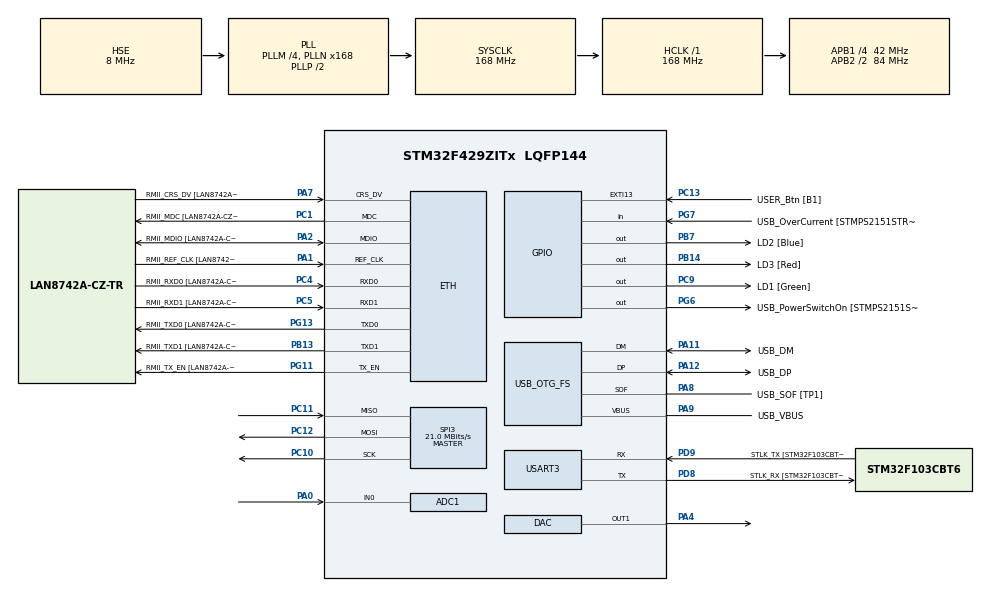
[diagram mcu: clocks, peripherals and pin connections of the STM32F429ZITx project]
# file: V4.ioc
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ADC1.Channel-0\#ChannelRegularConversion=ADC_CHANNEL_0
ADC1.NbrOfConversionFlag=1
ADC1.Rank-0\#ChannelRegularConversion=1
ADC1.SamplingTime-0\#ChannelRegularConversion=ADC_SAMPLETIME_3CYCLES
ADC1.master=1
ETH.MediaInterface=ETH_MEDIA_INTERFACE_RMII
ETH.PHY_Name=LAN8742A_PHY_ADDRESS
ETH.PHY_Value=0
ETH.PhyAddress=0
FREERTOS.Tasks01=defaultTask,24,128,StartDefaultTask,Default,NULL,Dynamic,NULL,NULL
LWIP.IP_ADDRESS=010.010.010.010
LWIP.LWIP_DHCP=0
LWIP.NETMASK_ADDRESS=255.255.000.000
LWIP.Version=v2.0.3_Cube
Mcu.Family=STM32F4
Mcu.Name=STM32F429ZITx
Mcu.Package=LQFP144
NVIC.ETH_IRQn=true\:5\:0\:false\:false\:true\:true\:false\:true
NVIC.OTG_FS_IRQn=true\:5\:0\:false\:false\:true\:true\:false\:true
NVIC.PriorityGroup=NVIC_PRIORITYGROUP_4
NVIC.TIM8_TRG_COM_TIM14_IRQn=true\:0\:0\:false\:false\:true\:false\:false\:true
NVIC.TimeBase=TIM8_TRG_COM_TIM14_IRQn
NVIC.TimeBaseIP=TIM14
PA0/WKUP.Signal=ADCx_IN0
PA1.GPIO_Label=RMII_REF_CLK [LAN8742A-CZ-TR_REFCLK0]
PA1.Mode=RMII
PA1.Signal=ETH_REF_CLK
PA10.GPIO_Label=USB_ID
PA10.Signal=USB_OTG_FS_ID
PA11.GPIO_Label=USB_DM
PA11.Mode=Device_Only
PA11.Signal=USB_OTG_FS_DM
PA12.GPIO_Label=USB_DP
PA12.Mode=Device_Only
PA12.Signal=USB_OTG_FS_DP
PA13.GPIO_Label=TMS
PA13.Mode=Serial_Wire
PA13.Signal=SYS_JTMS-SWDIO
PA14.GPIO_Label=TCK
PA14.Mode=Serial_Wire
PA14.Signal=SYS_JTCK-SWCLK
PA2.GPIO_Label=RMII_MDIO [LAN8742A-CZ-TR_MDIO]
PA2.Mode=RMII
PA2.Signal=ETH_MDIO
PA4.Signal=COMP_DAC1_group
PA7.GPIO_Label=RMII_CRS_DV [LAN8742A-CZ-TR_CRS_DV]
PA7.Mode=RMII
PA7.Signal=ETH_CRS_DV
PA8.GPIO_Label=USB_SOF [TP1]
PA8.Mode=Activate_SOF_FS
PA8.Signal=USB_OTG_FS_SOF
PA9.GPIO_Label=USB_VBUS
PA9.Mode=Activate_VBUS
PA9.Signal=USB_OTG_FS_VBUS
PB13.GPIO_Label=RMII_TXD1 [LAN8742A-CZ-TR_TXD1]
PB13.Mode=RMII
PB13.Signal=ETH_TXD1
PB14.GPIO_Label=LD3 [Red]
PB14.Signal=GPIO_Output
PB7.GPIO_Label=LD2 [Blue]
PB7.Signal=GPIO_Output
PC1.GPIO_Label=RMII_MDC [LAN8742A-CZ-TR_MDC]
PC1.Mode=RMII
PC1.Signal=ETH_MDC
PC10.Mode=Full_Duplex_Master
PC10.Signal=SPI3_SCK
PC11.Mode=Full_Duplex_Master
PC11.Signal=SPI3_MISO
PC12.Mode=Full_Duplex_Master
PC12.Signal=SPI3_MOSI
PC13.GPIO_Label=USER_Btn [B1]
PC13.Signal=GPXTI13
PC14/OSC32_IN.Mode=LSE-External-Oscillator
PC14/OSC32_IN.Signal=RCC_OSC32_IN
PC15/OSC32_OUT.Mode=LSE-External-Oscillator
PC15/OSC32_OUT.Signal=RCC_OSC32_OUT
PC4.GPIO_Label=RMII_RXD0 [LAN8742A-CZ-TR_RXD0]
PC4.Mode=RMII
PC4.Signal=ETH_RXD0
PC5.GPIO_Label=RMII_RXD1 [LAN8742A-CZ-TR_RXD1]
PC5.Mode=RMII
PC5.Signal=ETH_RXD1
PC9.GPIO_Label=LD1 [Green]
PC9.Signal=GPIO_Output
PD8.GPIO_Label=STLK_RX [STM32F103CBT6_PA3]
PD8.Mode=Asynchronous
PD8.Signal=USART3_TX
PD9.GPIO_Label=STLK_TX [STM32F103CBT6_PA2]
PD9.Mode=Asynchronous
PD9.Signal=USART3_RX
PG11.GPIO_Label=RMII_TX_EN [LAN8742A-CZ-TR_TXEN]
PG11.Mode=RMII
PG11.Signal=ETH_TX_EN
PG13.GPIO_Label=RMII_TXD0 [LAN8742A-CZ-TR_TXD0]
PG13.Mode=RMII
PG13.Signal=ETH_TXD0
PG6.GPIO_Label=USB_PowerSwitchOn [STMPS2151STR_EN]
PG6.Signal=GPIO_Output
PG7.GPIO_Label=USB_OverCurrent [STMPS2151STR_FAULT]
PG7.Signal=GPIO_Input
PH0/OSC_IN.GPIO_Label=MCO [STM32F103CBT6_PA8]
PH0/OSC_IN.Mode=HSE-External-Clock-Source
PH0/OSC_IN.Signal=RCC_OSC_IN
PH1/OSC_OUT.Mode=HSE-External-Clock-Source
PH1/OSC_OUT.Signal=RCC_OSC_OUT
ProjectManager.HeapSize=0x200
ProjectManager.StackSize=0x400
ProjectManager.TargetToolchain=STM32CubeIDE
RCC.48MHZClocksFreq_Value=48000000
RCC.AHBFreq_Value=168000000
RCC.APB1CLKDivider=RCC_HCLK_DIV4
RCC.APB1Freq_Value=42000000
RCC.APB1TimFreq_Value=84000000
RCC.APB2CLKDivider=RCC_HCLK_DIV2
RCC.APB2Freq_Value=84000000
RCC.APB2TimCLKDivider=2
RCC.APB2TimFreq_Value=168000000
RCC.CortexFreq_Value=168000000
RCC.HCLKFreq_Value=168000000
RCC.HSE_VALUE=8000000
RCC.HSI_VALUE=16000000
RCC.PLLM=4
RCC.PLLMUL=RCC_PLL_MUL9
RCC.PLLN=168
RCC.PLLQ=7
RCC.PRESCALERUSB=RCC_USBCLKSOURCE_PLL_DIV1_5
RCC.SYSCLKFreq_VALUE=168000000
RCC.SYSCLKSource=RCC_SYSCLKSOURCE_PLLCLK
RCC.SYSCLKSourceVirtual=RCC_SYSCLKSOURCE_PLLCLK
RCC.USBFreq_Value=48000000
RCC.VCOOutputFreq_Value=336000000
RTC.Format=RTC_FORMAT_BIN
SH.ADCx_IN0.0=ADC1_IN0,IN0
SH.COMP_DAC1_group.0=DAC_OUT1,DAC_OUT1
SPI3.CalculateBaudRate=21.0 MBits/s
SPI3.Direction=SPI_DIRECTION_2LINES
SPI3.Mode=SPI_MODE_MASTER
SPI3.VirtualType=VM_MASTER
USART3.VirtualMode=VM_ASYNC
USB_DEVICE.CLASS_NAME_FS=MSC
USB_DEVICE.VirtualMode-MSC_FS=Msc
USB_DEVICE.VirtualModeFS=Msc_FS
USB_OTG_FS.VirtualMode=Device_Only
VP_CRC_VS_CRC.Mode=CRC_Activate
VP_FATFS_VS_Generic.Mode=User_defined
VP_FREERTOS_VS_CMSIS_V2.Mode=CMSIS_V2
VP_LWIP_VS_Enabled.Mode=Enabled
VP_RTC_VS_RTC_Activate.Mode=RTC_Enabled
VP_RTC_VS_RTC_Calendar.Mode=RTC_Calendar
VP_SYS_VS_tim14.Mode=TIM14
VP_USB_DEVICE_VS_USB_DEVICE_MSC_FS.Mode=MSC_FS
board=NUCLEO-F429ZI

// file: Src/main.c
/* USER CODE BEGIN Header */
/**
  ******************************************************************************
  * @file           : main.c
  * @brief          : Main program body
  ******************************************************************************
  * @attention
  *
  * <h2><center>&copy; Copyright (c) 2019 STMicroelectronics.
  * All rights reserved.</center></h2>
  *
  * This software component is licensed by ST under BSD 3-Clause license,
  * the "License"; You may not use this file except in compliance with the
  * License. You may obtain a copy of the License at:
  *                        opensource.org/licenses/BSD-3-Clause
  *
  ******************************************************************************
  */
/* USER CODE END Header */

#include "main.h"
#include "cmsis_os.h"
#include "fatfs.h"
#include "lwip.h"
#include "usb_device.h"

/* USER CODE BEGIN Includes */
#include "track.h"
#include "variables.h"
#include "settings.h"
#include "acknowledge.h"
#include "httpd.h"
#include "LED.h"
#include "Shell.h"
#include "Input.h"

// Command Station
#include "CS.h"

extern void http_server_socket_init(void);
/* USER CODE END Includes */

/* USER CODE BEGIN PD */

#define VERSION		10008	// 10005 x.yy.zz = 1.00.05

/* USER CODE END PD */

ADC_HandleTypeDef hadc1;

DMA_HandleTypeDef hdma_adc1;

CRC_HandleTypeDef hcrc;

DAC_HandleTypeDef hdac;

RTC_HandleTypeDef hrtc;

SPI_HandleTypeDef hspi3;

UART_HandleTypeDef huart3;

osThreadId_t defaultTaskHandle;
/* USER CODE BEGIN PV */
//uint32_t HCLKFreq;
uint32_t PCLK1Freq;

FATFS fs;
/* USER CODE END PV */

void SystemClock_Config(void);
static void MX_GPIO_Init(void);
static void MX_USART3_UART_Init(void);
static void MX_ADC1_Init(void);
static void MX_ADC3_Init(void);
static void MX_CRC_Init(void);
static void MX_DAC_Init(void);
static void MX_RTC_Init(void);
static void MX_SPI3_Init(void);

//static void MX_TIM4_Init(void);

void StartDefaultTask(void *argument);

/* USER CODE BEGIN PFP */
//extern void ShellTask(void *argument);
//extern void LedTask(void *argument);
extern void http_server_init(void);
//extern void UsbTask(void *argument);

uint32_t MakeSerialNumber(void);

//extern void Telnet_init(void);
extern void telnet_server_init(void);

//extern void StatusLed(int s);

/* USER CODE END PFP */

/* USER CODE BEGIN 0 */

// LCC and Cab current - A8 - PF4 - ADC3_IN14
//// LCC and Cab current - Ax - PB0 - ADC1_IN18
// Voltage Feedback - A6 - PB1 - ADC12_IN9
// Current Feedback - A7 - PC2 - ADC123_IN12

// SD CLK PC10
// SD MISO PC11
// SD MOSI PC12
// SD SS PA15

// RS485 DE PD4
// RS485 TX PD5
// RS485 RX PD6

// -CAN RX PD0
// -CAN TX PD1

// -BIDI RX PC7
// -BIDI THRESH PA4
// -BIDI_EN PB11

// DCCOUTD PA0
// BR_EN PB6
// SCOPE PE7

// -REF_OSC PF4

// IN1 PE10
// IN2 PE12
// IN3 PE14
// IN4 PE15

/* USER CODE END 0 */

int main(void)
{

	/* MCU Configuration--------------------------------------------------------*/

	/* Reset of all peripherals, Initializes the Flash interface and the Systick. */

	HAL_Init();
//	HAL_ADC_MspInit();

	/* Configure the system clock */
	SystemClock_Config();

	/* USER CODE BEGIN SysInit */
	//HCLKFreq = HAL_RCC_GetHCLKFreq();
	PCLK1Freq = HAL_RCC_GetPCLK1Freq();
	/* USER CODE END SysInit */

	/* Initialize all configured peripherals */
	MX_GPIO_Init();
	MX_USART3_UART_Init();
	MX_ADC1_Init();
	//MX_ADC3_Init();
	MX_CRC_Init();
	MX_DAC_Init();
	MX_RTC_Init();
	MX_SPI3_Init();
	/* USER CODE BEGIN 2 */

	/* init code for FATFS */
	MX_FATFS_Init();

	/* Mount SD Card */
	if(f_mount(&fs, "", 1) != FR_OK)
	{
	    Error_Handler();
	}

	GetSettings();

	MainTrackConfig();
	InitAcknowledge();

	// initially open the track resource for the Shell
	//(void)OpenTrack(TR_SHELL, TI_IDLE, DEFAULT_PREAMBLES);
	(void)OpenTrack(TR_SHELL, TrackIdle, DEFAULT_PREAMBLES);

	lVersion = VERSION;
	lSerialNumber = MakeSerialNumber();
	strcpy(szBuildDateVar, __DATE__);

	/* USER CODE END 2 */

	osKernelInitialize();

	/* Create the thread(s) */
	/* definition and creation of defaultTask */
	const osThreadAttr_t defaultTask_attributes = {
		.name = "defaultTask",
		.priority = (osPriority_t) osPriorityNormal,
		.stack_size = 2000
	};
	defaultTaskHandle = osThreadNew(StartDefaultTask, NULL, &defaultTask_attributes);

  /* USER CODE BEGIN RTOS_THREADS */
	/* add threads, ... */

	const osThreadAttr_t shellTask_attributes = {
		.name = "shell",
		.priority = (osPriority_t) osPriorityAboveNormal4,
		//.stack_size = 1024
		//.stack_size = 2000
		.stack_size = 3000
	};
	osThreadNew(ShellTask, NULL, &shellTask_attributes);

	const osThreadAttr_t scriptTask_attributes = {
		.name = "script",
		.priority = (osPriority_t) osPriorityAboveNormal1,
		//.stack_size = 1024
		//.stack_size = 2500
		.stack_size = 3000
	};
	osThreadNew(ScriptTask, NULL, &scriptTask_attributes);

	const osThreadAttr_t ledTask_attributes = {
		.name = "led",
		.priority = (osPriority_t) osPriorityNormal1,
		.stack_size = 256
	};
	osThreadNew(LedTask, NULL, &ledTask_attributes);

	const osThreadAttr_t commandstationTask_attributes = {
		.name = "commandstation",
		.priority = (osPriority_t) osPriorityNormal1,
		.stack_size = 3000
	};
	osThreadNew(CommandStationTask, NULL, &commandstationTask_attributes);

	const osThreadAttr_t inputTask_attributes = {
		.name = "input",
		.priority = (osPriority_t) osPriorityNormal1,
		.stack_size = 256
	};
	osThreadNew(InputTask, NULL, &inputTask_attributes);

	HeartbeatLed(LED_NORMAL);

//k	http_server_init();
	telnet_server_init();

  /* USER CODE END RTOS_THREADS */

  /* Start scheduler */
  osKernelStart();

  /* We should never get here as control is now taken by the scheduler */

  /* Infinite loop */
	while (1)
	{

	}
}

void SystemClock_Config(void)
{
  RCC_OscInitTypeDef RCC_OscInitStruct = {0};
  RCC_ClkInitTypeDef RCC_ClkInitStruct = {0};
  RCC_PeriphCLKInitTypeDef PeriphClkInitStruct = {0};

  /** Configure the main internal regulator output voltage
  */
  __HAL_RCC_PWR_CLK_ENABLE();
  __HAL_PWR_VOLTAGESCALING_CONFIG(PWR_REGULATOR_VOLTAGE_SCALE1);
  /** Initializes the CPU, AHB and APB busses clocks
  */
  //RCC_OscInitStruct.OscillatorType = RCC_OSCILLATORTYPE_LSI|RCC_OSCILLATORTYPE_HSE;
  RCC_OscInitStruct.OscillatorType = RCC_OSCILLATORTYPE_LSE|RCC_OSCILLATORTYPE_HSE;
  RCC_OscInitStruct.HSEState = RCC_HSE_BYPASS;
  RCC_OscInitStruct.LSIState = RCC_LSI_ON;
  //RCC_OscInitStruct.LSEState = RCC_LSE_BYPASS;
  RCC_OscInitStruct.LSEState = RCC_LSE_ON;
  RCC_OscInitStruct.PLL.PLLState = RCC_PLL_ON;
  RCC_OscInitStruct.PLL.PLLSource = RCC_PLLSOURCE_HSE;
  RCC_OscInitStruct.PLL.PLLM = 4;
  RCC_OscInitStruct.PLL.PLLN = 168;
  RCC_OscInitStruct.PLL.PLLP = RCC_PLLP_DIV2;
  RCC_OscInitStruct.PLL.PLLQ = 7;
  if (HAL_RCC_OscConfig(&RCC_OscInitStruct) != HAL_OK)
  {
    Error_Handler();
  }
  /** Initializes the CPU, AHB and APB busses clocks
  */
  RCC_ClkInitStruct.ClockType = RCC_CLOCKTYPE_HCLK|RCC_CLOCKTYPE_SYSCLK
                              |RCC_CLOCKTYPE_PCLK1|RCC_CLOCKTYPE_PCLK2;
  RCC_ClkInitStruct.SYSCLKSource = RCC_SYSCLKSOURCE_PLLCLK;
  RCC_ClkInitStruct.AHBCLKDivider = RCC_SYSCLK_DIV1;
  RCC_ClkInitStruct.APB1CLKDivider = RCC_HCLK_DIV4;
  RCC_ClkInitStruct.APB2CLKDivider = RCC_HCLK_DIV2;

  if (HAL_RCC_ClockConfig(&RCC_ClkInitStruct, FLASH_LATENCY_5) != HAL_OK)
  {
    Error_Handler();
  }
  PeriphClkInitStruct.PeriphClockSelection = RCC_PERIPHCLK_RTC;
  //PeriphClkInitStruct.RTCClockSelection = RCC_RTCCLKSOURCE_LSI;
  PeriphClkInitStruct.RTCClockSelection = RCC_RTCCLKSOURCE_LSE;
  if (HAL_RCCEx_PeriphCLKConfig(&PeriphClkInitStruct) != HAL_OK)
  {
    Error_Handler();
  }
}

static void MX_ADC1_Init(void)
{

	/* USER CODE BEGIN ADC1_Init 0 */
	GPIO_InitTypeDef GPIO_InitStruct;
	/* USER CODE END ADC1_Init 0 */

	GPIO_InitStruct.Pin       = VOLTAGE_FB_PIN;
	GPIO_InitStruct.Mode      = VOLTAGE_FB_MODE;
	GPIO_InitStruct.Pull      = VOLTAGE_FB_PU_PD;
	GPIO_InitStruct.Speed     = VOLTAGE_FB_SPEED;
	HAL_GPIO_Init(VOLTAGE_FB_PORT, &GPIO_InitStruct);

	GPIO_InitStruct.Pin       = CURRENT_FB_PIN;
	GPIO_InitStruct.Mode      = CURRENT_FB_MODE;
	GPIO_InitStruct.Pull      = CURRENT_FB_PU_PD;
	GPIO_InitStruct.Speed     = CURRENT_FB_SPEED;
	HAL_GPIO_Init(CURRENT_FB_PORT, &GPIO_InitStruct);

#ifdef USE_NEW
	ADC_ChannelConfTypeDef sConfig = {0};

	/* USER CODE BEGIN ADC1_Init 1 */
	__HAL_RCC_ADC1_CLK_ENABLE();
//	__HAL_RCC_DMAx_CLK_ENABLE();

//	__HAL_ADC_ENABLE;

	/* USER CODE END ADC1_Init 1 */
	/** Configure the global features of the ADC (Clock, Resolution, Data Alignment and number of conversion)
	*/
	hadc1.Instance = ADC1;
	hadc1.Init.ClockPrescaler = ADC_CLOCK_SYNC_PCLK_DIV4;
	hadc1.Init.Resolution = ADC_RESOLUTION_12B;
	hadc1.Init.ScanConvMode = ENABLE;
	hadc1.Init.ContinuousConvMode = ENABLE;
	hadc1.Init.DiscontinuousConvMode = DISABLE;
	hadc1.Init.ExternalTrigConvEdge = ADC_EXTERNALTRIGCONVEDGE_NONE;
	hadc1.Init.ExternalTrigConv = ADC_SOFTWARE_START;
	hadc1.Init.DataAlign = ADC_DATAALIGN_RIGHT;
	hadc1.Init.NbrOfConversion = 2;
	hadc1.Init.DMAContinuousRequests = ENABLE;
	hadc1.Init.EOCSelection = DISABLE;
	if (HAL_ADC_Init(&hadc1) != HAL_OK)
	{
		Error_Handler();
	}
	/** Configure for the selected ADC regular channel its corresponding rank in the sequencer and its sample time.
	*/
	/* USER CODE BEGIN ADC1_Init 2 */
	sConfig.Channel = ADC_CHANNEL_9;
	sConfig.Rank = 1;
	sConfig.SamplingTime = ADC_SAMPLETIME_28CYCLES;
	if (HAL_ADC_ConfigChannel(&hadc1, &sConfig) != HAL_OK)
	{
		Error_Handler();
	}

	sConfig.Channel = ADC_CHANNEL_12;
	sConfig.Rank = 2;
	sConfig.SamplingTime = ADC_SAMPLETIME_28CYCLES;
	if (HAL_ADC_ConfigChannel(&hadc1, &sConfig) != HAL_OK)
	{
		Error_Handler();
	}

#endif

  ADC_ChannelConfTypeDef sConfig = {0};

  /* USER CODE BEGIN ADC1_Init 1 */

  /* USER CODE END ADC1_Init 1 */
  /** Configure the global features of the ADC (Clock, Resolution, Data Alignment and number of conversion)
  */
  hadc1.Instance = ADC1;
  hadc1.Init.ClockPrescaler = ADC_CLOCK_SYNC_PCLK_DIV8;
  hadc1.Init.Resolution = ADC_RESOLUTION_12B;
  hadc1.Init.ScanConvMode = ENABLE;
  hadc1.Init.ContinuousConvMode = ENABLE;
  hadc1.Init.DiscontinuousConvMode = DISABLE;
  hadc1.Init.ExternalTrigConvEdge = ADC_EXTERNALTRIGCONVEDGE_NONE;
  hadc1.Init.ExternalTrigConv = ADC_SOFTWARE_START;
  hadc1.Init.DataAlign = ADC_DATAALIGN_RIGHT;
  hadc1.Init.NbrOfConversion = 2;
  hadc1.Init.DMAContinuousRequests = DISABLE;
  hadc1.Init.EOCSelection = ADC_EOC_SEQ_CONV;
  if (HAL_ADC_Init(&hadc1) != HAL_OK)
  {
	Error_Handler();
  }
  /** Configure for the selected ADC regular channel its corresponding rank in the sequencer and its sample time.
  */
  sConfig.Channel = ADC_CHANNEL_9;
  sConfig.Rank = 1;
  sConfig.SamplingTime = ADC_SAMPLETIME_3CYCLES;
  if (HAL_ADC_ConfigChannel(&hadc1, &sConfig) != HAL_OK)
  {
	Error_Handler();
  }
  /** Configure for the selected ADC regular channel its corresponding rank in the sequencer and its sample time.
  */
  sConfig.Channel = ADC_CHANNEL_12;
  sConfig.Rank = 2;
  if (HAL_ADC_ConfigChannel(&hadc1, &sConfig) != HAL_OK)
  {
	Error_Handler();
  }

	/* USER CODE END ADC1_Init 2 */
}

static void MX_ADC3_Init(void)
{

	/* USER CODE BEGIN ADC1_Init 0 */
//	GPIO_InitTypeDef GPIO_InitStruct;
	/* USER CODE END ADC1_Init 0 */

	ADC_ChannelConfTypeDef sConfig = {0};

	/* USER CODE BEGIN ADC1_Init 1 */
	__HAL_RCC_ADC3_CLK_ENABLE();
	/* USER CODE END ADC1_Init 1 */
	/** Configure the global features of the ADC (Clock, Resolution, Data Alignment and number of conversion)
	*/
	hadc1.Instance = ADC3;
	hadc1.Init.ClockPrescaler = ADC_CLOCK_SYNC_PCLK_DIV4;
	hadc1.Init.Resolution = ADC_RESOLUTION_12B;
	hadc1.Init.ScanConvMode = DISABLE;
	hadc1.Init.ContinuousConvMode = DISABLE;
	hadc1.Init.DiscontinuousConvMode = DISABLE;
	hadc1.Init.ExternalTrigConvEdge = ADC_EXTERNALTRIGCONVEDGE_NONE;
	hadc1.Init.ExternalTrigConv = ADC_SOFTWARE_START;
	hadc1.Init.DataAlign = ADC_DATAALIGN_RIGHT;
	hadc1.Init.NbrOfConversion = 1;
	hadc1.Init.DMAContinuousRequests = DISABLE;
	hadc1.Init.EOCSelection = ADC_EOC_SINGLE_CONV;
	if (HAL_ADC_Init(&hadc1) != HAL_OK)
	{
		Error_Handler();
	}
	/** Configure for the selected ADC regular channel its corresponding rank in the sequencer and its sample time.
	*/
	sConfig.Channel = ADC_CHANNEL_14;
	sConfig.Rank = 1;
	sConfig.SamplingTime = ADC_SAMPLETIME_3CYCLES;
	if (HAL_ADC_ConfigChannel(&hadc1, &sConfig) != HAL_OK)
	{
		Error_Handler();
	}
	/* USER CODE BEGIN ADC1_Init 2 */
//k	GPIO_InitStruct.Pin       = LCC_CURRENT_PIN;
//k	GPIO_InitStruct.Mode      = LCC_CURRENT_MODE;
//k	GPIO_InitStruct.Pull      = LCC_CURRENT_PU_PD;
//k	GPIO_InitStruct.Speed     = LCC_CURRENT_SPEED;
//k	HAL_GPIO_Init(LCC_CURRENT_PORT, &GPIO_InitStruct);
	/* USER CODE END ADC1_Init 2 */
}

#ifdef NOT_USED
static void MX_TIM4_Init(void)
{
	GPIO_InitTypeDef GPIO_InitStruct;
	TIM_ClockConfigTypeDef sClockSourceConfig;
	TIM_MasterConfigTypeDef sMasterConfig;
	TIM_OC_InitTypeDef sConfigOC;
	TIM_BreakDeadTimeConfigTypeDef sBreakDeadTimeConfig;

	__HAL_RCC_TIM4_CLK_ENABLE();

	htim2.Instance = TIM4;
	htim2.Init.Prescaler = TIMER_PRESCALER;
	htim2.Init.CounterMode = TIM_COUNTERMODE_UP;
	htim2.Init.Period = ONE_PERIOD;
	htim2.Init.ClockDivision = TIM_CLOCKDIVISION_DIV1;
	htim2.Init.RepetitionCounter = 0;
	htim2.Init.AutoReloadPreload = TIM_AUTORELOAD_PRELOAD_ENABLE;
	if (HAL_TIM_PWM_Init(&htim2) != HAL_OK)
	{
		Error_Handler();
	}

	sClockSourceConfig.ClockSource = TIM_CLOCKSOURCE_INTERNAL;
	sClockSourceConfig.ClockPolarity = TIM_CLOCKPOLARITY_NONINVERTED;
	sClockSourceConfig.ClockPrescaler = TIM_ETRPRESCALER_DIV1;
	sClockSourceConfig.ClockFilter = 0;
	if (HAL_TIM_ConfigClockSource(&htim2, &sClockSourceConfig) != HAL_OK)
	{
		Error_Handler();
	}

	sMasterConfig.MasterOutputTrigger = TIM_TRGO_RESET;
	sMasterConfig.MasterSlaveMode = TIM_MASTERSLAVEMODE_DISABLE;
	if (HAL_TIMEx_MasterConfigSynchronization(&htim2, &sMasterConfig) != HAL_OK)
	{
		Error_Handler();
	}

	sConfigOC.OCMode = TIM_OCMODE_PWM1;
	sConfigOC.Pulse = ONE_PULSE;
	sConfigOC.OCPolarity = TIM_OCPOLARITY_HIGH;
	sConfigOC.OCNPolarity = TIM_OCNPOLARITY_HIGH;
	sConfigOC.OCFastMode = TIM_OCFAST_DISABLE;
	sConfigOC.OCIdleState = TIM_OCIDLESTATE_RESET;
	sConfigOC.OCNIdleState = TIM_OCNIDLESTATE_SET;
	if (HAL_TIM_PWM_ConfigChannel(&htim2, &sConfigOC, TIM_CHANNEL_1) != HAL_OK)
	{
		Error_Handler();
	}

	//sBreakDeadTimeConfig.OffStateRunMode = TIM_OSSR_DISABLE;
	sBreakDeadTimeConfig.OffStateRunMode = TIM_OSSR_ENABLE;
	//sBreakDeadTimeConfig.OffStateIDLEMode = TIM_OSSI_DISABLE;
	sBreakDeadTimeConfig.OffStateIDLEMode = TIM_OSSI_ENABLE;
	sBreakDeadTimeConfig.LockLevel = TIM_LOCKLEVEL_OFF;
	sBreakDeadTimeConfig.DeadTime = 0;
	sBreakDeadTimeConfig.BreakState = TIM_BREAK_DISABLE;
	sBreakDeadTimeConfig.BreakPolarity = TIM_BREAKPOLARITY_LOW;
	sBreakDeadTimeConfig.AutomaticOutput = TIM_AUTOMATICOUTPUT_DISABLE;
	if (HAL_TIMEx_ConfigBreakDeadTime(&htim2, &sBreakDeadTimeConfig) != HAL_OK)
	{
		Error_Handler();
	}

	InitTrackQueue();

	#ifdef IDLE_IDLE_PACKETS
		BuildIdlePacket(NO_OF_PREAMBLE_BITS);
	#endif
	#ifndef IDLE_IDLE_PACKETS
		BuildOnesPacket();
	#endif

	CurrentPacket = apIdlePacket;
	CurrentPacketIdx = -1;

	//CurrentPattern = apIdlePacket+1;

	//__HAL_TIM_SET_AUTORELOAD(&htim2, apIdlePacket[0].period);
	//__HAL_TIM_SET_COMPARE(&htim2, TIM_CHANNEL_1, apIdlePacket[0].pulse);

	//__HAL_RCC_GPIOA_CLK_ENABLE();
	//__HAL_RCC_GPIOB_CLK_ENABLE();
	//__HAL_RCC_GPIOE_CLK_ENABLE();

	/* Tim2 Chan1 GPIO pin configuration  */
	GPIO_InitStruct.Pin       = TRACK_A_PIN;
	GPIO_InitStruct.Mode      = TRACK_A_MODE_D;
	GPIO_InitStruct.Pull      = TRACK_A_PU_PD;
	GPIO_InitStruct.Speed     = TRACK_A_SPEED;
	GPIO_InitStruct.Alternate = TRACK_A_AF;
	HAL_GPIO_Init(TRACK_A_PORT, &GPIO_InitStruct);

	/* Tim2 Enable GPIO pin configuration  */
	GPIO_InitStruct.Pin 	  = TRACK_ENABLE_PIN;
	GPIO_InitStruct.Mode      = TRACK_ENABLE_MODE;
	GPIO_InitStruct.Pull      = TRACK_ENABLE_PU_PD;
	GPIO_InitStruct.Speed     = TRACK_ENABLE_SPEED;
	HAL_GPIO_Init(TRACK_ENABLE_PORT, &GPIO_InitStruct);

	/*Configure GPIO pin : Scope Trigger */
	GPIO_InitStruct.Pin = SCOPE_TRIGGER_Pin;
	GPIO_InitStruct.Mode = SCOPE_TRIGGER_MODE;
	GPIO_InitStruct.Pull = SCOPE_TRIGGER_PU_PD;
	GPIO_InitStruct.Speed = SCOPE_TRIGGER_SPEED;
	HAL_GPIO_Init(SCOPE_TRIGGER_Port, &GPIO_InitStruct);

	//Enable Timer 1 interrupts
	HAL_NVIC_SetPriority(TIM2_IRQn, 0, 3);
//	HAL_NVIC_EnableIRQ(TIM2_IRQn);
//	__HAL_TIM_ENABLE_IT(&htim2, TIM_IT_UPDATE);

	#ifdef ENABLE_AT_STARTUP
		EnableTrack();
	#else
		DisableTrack();
	#endif

	//if(HAL_TIMEx_PWMN_Start(&htim2, TIM_CHANNEL_1) != HAL_OK)
	//{
	//	Error_Handler();
	//}

	if(HAL_TIM_PWM_Start(&htim2, TIM_CHANNEL_1) != HAL_OK)
	{
		Error_Handler();
	}
}
#endif

static void MX_CRC_Init(void)
{

  hcrc.Instance = CRC;
  if (HAL_CRC_Init(&hcrc) != HAL_OK)
  {
    Error_Handler();
  }

}

static void MX_DAC_Init(void)
{

	/* USER CODE BEGIN DAC_Init 0 */
	GPIO_InitTypeDef GPIO_InitStruct;
	/* USER CODE END DAC_Init 0 */

	DAC_ChannelConfTypeDef sConfig = {0};

	/** DAC Initialization
	*/
	hdac.Instance = DAC;
	if (HAL_DAC_Init(&hdac) != HAL_OK)
	{
		Error_Handler();
	}
	/** DAC channel OUT1 config
	*/
	sConfig.DAC_Trigger = DAC_TRIGGER_NONE;
	sConfig.DAC_OutputBuffer = DAC_OUTPUTBUFFER_ENABLE;
	if (HAL_DAC_ConfigChannel(&hdac, &sConfig, DAC_CHANNEL_1) != HAL_OK)
	{
		Error_Handler();
	}
	/* USER CODE BEGIN DAC_Init 2 */
	GPIO_InitStruct.Pin       = BIDI_THRESH_PIN;
	GPIO_InitStruct.Mode      = BIDI_THRESH_MODE;
	GPIO_InitStruct.Pull      = BIDI_THRESH_PU_PD;
	GPIO_InitStruct.Speed     = BIDI_THRESH_SPEED;
	HAL_GPIO_Init(BIDI_THRESH_PORT, &GPIO_InitStruct);
	/* USER CODE END DAC_Init 2 */

}

static void MX_RTC_Init(void)
{

  RTC_TimeTypeDef sTime = {0};
  RTC_DateTypeDef sDate = {0};

  /** Initialize RTC Only
  */
  hrtc.Instance = RTC;
  hrtc.Init.HourFormat = RTC_HOURFORMAT_24;
  hrtc.Init.AsynchPrediv = 127;
  hrtc.Init.SynchPrediv = 255;
  hrtc.Init.OutPut = RTC_OUTPUT_DISABLE;
  hrtc.Init.OutPutPolarity = RTC_OUTPUT_POLARITY_HIGH;
  hrtc.Init.OutPutType = RTC_OUTPUT_TYPE_OPENDRAIN;
  if (HAL_RTC_Init(&hrtc) != HAL_OK)
  {
    Error_Handler();
  }

  /* USER CODE BEGIN Check_RTC_BKUP */
#ifdef NEW_INIT
  /* USER CODE END Check_RTC_BKUP */

  /** Initialize RTC and set the Time and Date
  */
  sTime.Hours = 0;
  sTime.Minutes = 0;
  sTime.Seconds = 0;
  sTime.DayLightSaving = RTC_DAYLIGHTSAVING_NONE;
  sTime.StoreOperation = RTC_STOREOPERATION_RESET;
  if (HAL_RTC_SetTime(&hrtc, &sTime, RTC_FORMAT_BIN) != HAL_OK)
  {
    Error_Handler();
  }
  sDate.WeekDay = RTC_WEEKDAY_MONDAY;
  sDate.Month = RTC_MONTH_JANUARY;
  sDate.Date = 1;
  sDate.Year = 0;

  if (HAL_RTC_SetDate(&hrtc, &sDate, RTC_FORMAT_BIN) != HAL_OK)
  {
    Error_Handler();
  }
  /* USER CODE BEGIN RTC_Init 2 */
#endif

  if (HAL_RTCEx_BKUPRead(&hrtc, RTC_BKP_DR1) != 0x32F2)
  {
	  /** Initialize RTC and set the Time and Date
	  */
	  sTime.Hours = 0;
	  sTime.Minutes = 0;
	  sTime.Seconds = 0;
	  sTime.DayLightSaving = RTC_DAYLIGHTSAVING_NONE;
	  sTime.StoreOperation = RTC_STOREOPERATION_RESET;
	  if (HAL_RTC_SetTime(&hrtc, &sTime, RTC_FORMAT_BCD) != HAL_OK)
	  {
	    Error_Handler();
	  }
	  sDate.WeekDay = RTC_WEEKDAY_MONDAY;
	  sDate.Month = RTC_MONTH_JANUARY;
	  sDate.Date = 1;
	  sDate.Year = 0;

	  if (HAL_RTC_SetDate(&hrtc, &sDate, RTC_FORMAT_BCD) != HAL_OK)
	  {
	    Error_Handler();
	  }

	  HAL_RTCEx_BKUPWrite(&hrtc, RTC_BKP_DR1, 0x32F2);
  }

  // make sure the RCT output is disabled - same pin as the user button

  /* Disable the write protection for RTC registers */
  __HAL_RTC_WRITEPROTECTION_DISABLE(&hrtc);

  __HAL_RTC_CALIBRATION_OUTPUT_DISABLE(&hrtc);

  /* Enable the write protection for RTC registers */
  __HAL_RTC_WRITEPROTECTION_ENABLE(&hrtc);

  /* USER CODE END RTC_Init 2 */

}

static void MX_SPI3_Init(void)
{

  /* SPI3 parameter configuration*/
  hspi3.Instance = SPI3;
  hspi3.Init.Mode = SPI_MODE_MASTER;
  hspi3.Init.Direction = SPI_DIRECTION_2LINES;
  hspi3.Init.DataSize = SPI_DATASIZE_8BIT;
  hspi3.Init.CLKPolarity = SPI_POLARITY_LOW;
  hspi3.Init.CLKPhase = SPI_PHASE_1EDGE;
  hspi3.Init.NSS = SPI_NSS_SOFT;
  hspi3.Init.BaudRatePrescaler = SPI_BAUDRATEPRESCALER_2;
  hspi3.Init.FirstBit = SPI_FIRSTBIT_MSB;
  hspi3.Init.TIMode = SPI_TIMODE_DISABLE;
  hspi3.Init.CRCCalculation = SPI_CRCCALCULATION_DISABLE;
  hspi3.Init.CRCPolynomial = 10;
  if (HAL_SPI_Init(&hspi3) != HAL_OK)
  {
    Error_Handler();
  }

}

static void MX_USART3_UART_Init(void)
{

  huart3.Instance = USART3;
  huart3.Init.BaudRate = 115200;
  huart3.Init.WordLength = UART_WORDLENGTH_8B;
  huart3.Init.StopBits = UART_STOPBITS_1;
  huart3.Init.Parity = UART_PARITY_NONE;
  huart3.Init.Mode = UART_MODE_TX_RX;
  huart3.Init.HwFlowCtl = UART_HWCONTROL_NONE;
  huart3.Init.OverSampling = UART_OVERSAMPLING_16;
  if (HAL_UART_Init(&huart3) != HAL_OK)
  {
    Error_Handler();
  }

}

static void MX_GPIO_Init(void)
{
  GPIO_InitTypeDef GPIO_InitStruct = {0};

  /* GPIO Ports Clock Enable */
  __HAL_RCC_GPIOA_CLK_ENABLE();
  __HAL_RCC_GPIOB_CLK_ENABLE();
  __HAL_RCC_GPIOC_CLK_ENABLE();
  __HAL_RCC_GPIOD_CLK_ENABLE();
  __HAL_RCC_GPIOE_CLK_ENABLE();
  __HAL_RCC_GPIOH_CLK_ENABLE();
  __HAL_RCC_GPIOG_CLK_ENABLE();

  /*Configure GPIO pin Output Level */
  HAL_GPIO_WritePin(GPIOB, LD3_Pin|LD2_Pin, GPIO_PIN_RESET);

  /*Configure GPIO pin Output Level */
  HAL_GPIO_WritePin(USB_PowerSwitchOn_GPIO_Port, USB_PowerSwitchOn_Pin, GPIO_PIN_RESET);

  /*Configure GPIO pin Output Level */
  HAL_GPIO_WritePin(LD1_GPIO_Port, LD1_Pin, GPIO_PIN_RESET);

  /*Configure GPIO pin : USER_Btn_Pin */
  GPIO_InitStruct.Pin = USER_Btn_Pin;
  GPIO_InitStruct.Mode = GPIO_MODE_IT_RISING;
  GPIO_InitStruct.Pull = GPIO_PULLDOWN;
  HAL_GPIO_Init(USER_Btn_GPIO_Port, &GPIO_InitStruct);

  /*Configure GPIO pins : LD3_Pin LD2_Pin */
  GPIO_InitStruct.Pin = LD3_Pin|LD2_Pin;
  GPIO_InitStruct.Mode = GPIO_MODE_OUTPUT_PP;
  GPIO_InitStruct.Pull = GPIO_NOPULL;
  GPIO_InitStruct.Speed = GPIO_SPEED_FREQ_LOW;
  HAL_GPIO_Init(GPIOB, &GPIO_InitStruct);

  /*Configure GPIO pin : USB_PowerSwitchOn_Pin */
  GPIO_InitStruct.Pin = USB_PowerSwitchOn_Pin;
  GPIO_InitStruct.Mode = GPIO_MODE_OUTPUT_PP;
  GPIO_InitStruct.Pull = GPIO_NOPULL;
  GPIO_InitStruct.Speed = GPIO_SPEED_FREQ_LOW;
  HAL_GPIO_Init(USB_PowerSwitchOn_GPIO_Port, &GPIO_InitStruct);

  /*Configure GPIO pin : USB_OverCurrent_Pin */
  GPIO_InitStruct.Pin = USB_OverCurrent_Pin;
  GPIO_InitStruct.Mode = GPIO_MODE_INPUT;
  GPIO_InitStruct.Pull = GPIO_NOPULL;
  HAL_GPIO_Init(USB_OverCurrent_GPIO_Port, &GPIO_InitStruct);

  /*Configure GPIO pin : LD1_Pin */
  GPIO_InitStruct.Pin = LD1_Pin;
  GPIO_InitStruct.Mode = GPIO_MODE_OUTPUT_PP;
  GPIO_InitStruct.Pull = GPIO_NOPULL;
  GPIO_InitStruct.Speed = GPIO_SPEED_FREQ_LOW;
  HAL_GPIO_Init(LD1_GPIO_Port, &GPIO_InitStruct);

}

/* USER CODE BEGIN 4 */
/**********************************************************************
*
* FUNCTION:		MakeSerialNumber
*
* ARGUMENTS:
*
* RETURNS:
*
* DESCRIPTION:
*
* RESTRICTIONS:
*
**********************************************************************/
uint32_t MakeSerialNumber(void)
{
	uint32_t hash = 0;
	uint32_t i;
	uint32_t DeviceID[3];

	DeviceID[0] = HAL_GetUIDw0();
	DeviceID[1] = HAL_GetUIDw1();
	DeviceID[2] = HAL_GetUIDw2();

    for(i = 0; i < 3; i++)
    {
        hash += DeviceID[i];
        hash += (hash << 10);
        hash ^= (hash >> 6);
	}
	hash += (hash << 3);
	hash ^= (hash >> 11);
	hash += (hash << 15);
	return hash;
}

/* USER CODE END 4 */

void StartDefaultTask(void *argument)
{

  /* init code for FATFS */
//  MX_FATFS_Init();

  /* init code for LWIP */
  MX_LWIP_Init();

  /* init code for USB_DEVICE */
  MX_USB_DEVICE_Init();

  for(;;)
  {
    osDelay(1);
  }
}

void HAL_TIM_PeriodElapsedCallback(TIM_HandleTypeDef *htim)
{
  if (htim->Instance == TIM14) {
    HAL_IncTick();
  }
  /* USER CODE BEGIN Callback 1 */
  bfShellTick = 1;
  /* USER CODE END Callback 1 */
}

void Error_Handler(void)
{
}

/************************ (C) COPYRIGHT STMicroelectronics *****END OF FILE****/
